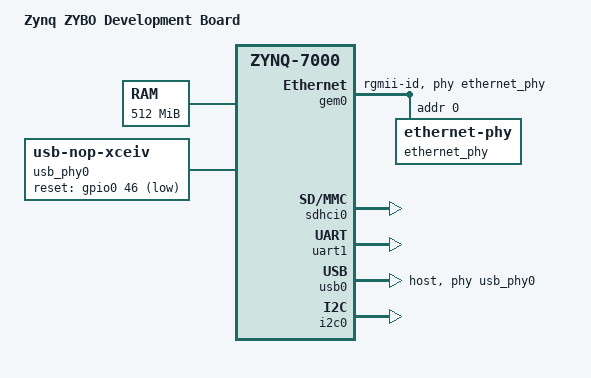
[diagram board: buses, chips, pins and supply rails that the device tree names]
/*
 *  Copyright (C) 2011 - 2014 Xilinx
 *  Copyright (C) 2012 National Instruments Corp.
 *
 * This software is licensed under the terms of the GNU General Public
 * License version 2, as published by the Free Software Foundation, and
 * may be copied, distributed, and modified under those terms.
 *
 * This program is distributed in the hope that it will be useful,
 * but WITHOUT ANY WARRANTY; without even the implied warranty of
 * MERCHANTABILITY or FITNESS FOR A PARTICULAR PURPOSE.  See the
 * GNU General Public License for more details.
 */
/dts-v1/;
#include "zynq-7000.dtsi"
#include "zynq-fpga.dtsi"

/ {
	model = "Zynq ZYBO Development Board";
	compatible = "digilent,zynq-zybo", "xlnx,zynq-7000";

	aliases {
		ethernet0 = &gem0;
		serial0 = &uart1;
	};

	memory@0 {
		device_type = "memory";
		reg = <0x0 0x20000000>;
	};

	chosen {
		bootargs = "";
		stdout-path = "serial0:115200n8";
	};

	usb_phy0: phy0 {
		#phy-cells = <0>;
		compatible = "usb-nop-xceiv";
		reset-gpios = <&gpio0 46 1>;
	};
};

&clkc {
	ps-clk-frequency = <50000000>;
};

&gem0 {
	status = "okay";
	phy-mode = "rgmii-id";
	phy-handle = <&ethernet_phy>;

	ethernet_phy: ethernet-phy@0 {
		reg = <0>;
		device_type = "ethernet-phy";
	};
};

&sdhci0 {
	status = "okay";
};

&uart1 {
	status = "okay";
};

&usb0 {
	status = "okay";
	dr_mode = "host";
	usb-phy = <&usb_phy0>;
};

&i2c0 {
	status = "okay";
};

&adc {
	xlnx,channels {
        /* PMOD-A 1: JA1_P; pin N15/AD14P
           PMOD-A 7: JA1_N: pin N16/AD14N
           PMOD-A 2: JA2_P: pin L14/AD7P
           PMOD-A 8: JA2_N: pin L15/AD7N
           PMOD-A 3: JA3_P: pin K16/AD15P
           PMOD-A 9: JA3_N: pin J16/AD15N
           PMOD-A 4: JA4_P: pin K14/AD6P
           PMOD-A10: JA4_N: pin J14/AD6N

		   xlnx,bipolar: set for bipolar mode
		*/
		#address-cells = <1>;
		#size-cells    = <0>;
		/* channel 0 is VP/VN */
		channel@6 {
			/* VAUX[5] */
			reg = <6>;
		};
		channel@7 {
			/* VAUX[6] */
			reg = <7>;
		};
	};
};
